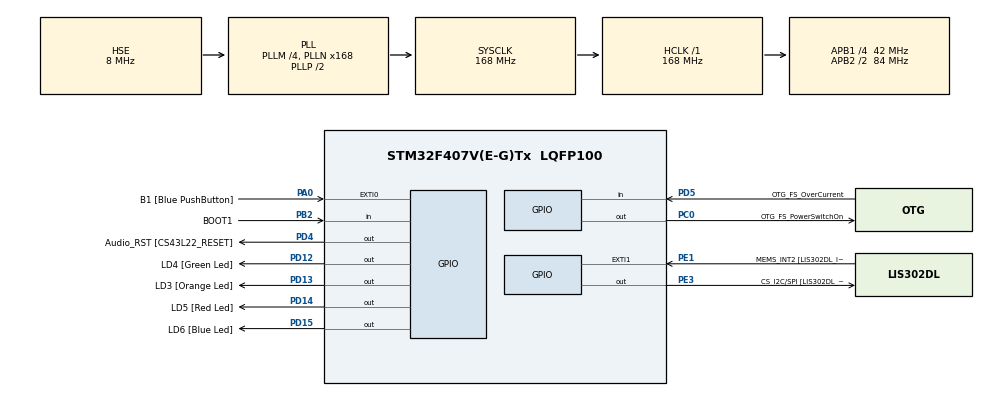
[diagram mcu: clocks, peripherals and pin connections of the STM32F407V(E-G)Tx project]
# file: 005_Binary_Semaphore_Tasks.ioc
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Mcu.Family=STM32F4
Mcu.Name=STM32F407V(E-G)Tx
Mcu.Package=LQFP100
NVIC.PriorityGroup=NVIC_PRIORITYGROUP_4
NVIC.TIM6_DAC_IRQn=true\:0\:0\:false\:false\:true\:false\:true\:true
NVIC.TimeBase=TIM6_DAC_IRQn
NVIC.TimeBaseIP=TIM6
PA0-WKUP.GPIO_Label=B1 [Blue PushButton]
PA0-WKUP.Signal=GPXTI0
PA10.GPIO_Label=OTG_FS_ID
PA10.GPIO_Mode=GPIO_MODE_AF_PP
PA10.GPIO_PuPd=GPIO_NOPULL
PA10.GPIO_Speed=GPIO_SPEED_FREQ_LOW
PA10.Signal=USB_OTG_FS_ID
PA11.GPIO_Label=OTG_FS_DM
PA11.GPIO_Mode=GPIO_MODE_AF_PP
PA11.GPIO_PuPd=GPIO_NOPULL
PA11.GPIO_Speed=GPIO_SPEED_FREQ_LOW
PA11.Signal=USB_OTG_FS_DM
PA12.GPIO_Label=OTG_FS_DP
PA12.GPIO_Mode=GPIO_MODE_AF_PP
PA12.GPIO_PuPd=GPIO_NOPULL
PA12.GPIO_Speed=GPIO_SPEED_FREQ_LOW
PA12.Signal=USB_OTG_FS_DP
PA13.GPIO_Label=SWDIO
PA13.Mode=Serial_Wire
PA13.Signal=SYS_JTMS-SWDIO
PA14.GPIO_Label=SWCLK
PA14.Mode=Serial_Wire
PA14.Signal=SYS_JTCK-SWCLK
PA4.GPIO_Label=I2S3_WS [CS43L22_LRCK]
PA4.GPIO_Mode=GPIO_MODE_AF_PP
PA4.GPIO_PuPd=GPIO_NOPULL
PA4.GPIO_Speed=GPIO_SPEED_FREQ_LOW
PA4.Signal=I2S3_WS
PA5.GPIO_Label=SPI1_SCK [LIS302DL_SCL/SPC]
PA5.GPIO_Mode=GPIO_MODE_AF_PP
PA5.GPIO_PuPd=GPIO_NOPULL
PA5.GPIO_Speed=GPIO_SPEED_FREQ_LOW
PA5.Signal=SPI1_SCK
PA6.GPIO_Label=SPI1_MISO [LIS302DL_SDO]
PA6.GPIO_Mode=GPIO_MODE_AF_PP
PA6.GPIO_PuPd=GPIO_NOPULL
PA6.GPIO_Speed=GPIO_SPEED_FREQ_LOW
PA6.Signal=SPI1_MISO
PA7.GPIO_Label=SPI1_MOSI [LIS302DL_SDA/SDI/SDO]
PA7.GPIO_Mode=GPIO_MODE_AF_PP
PA7.GPIO_PuPd=GPIO_NOPULL
PA7.GPIO_Speed=GPIO_SPEED_FREQ_LOW
PA7.Signal=SPI1_MOSI
PA9.GPIO_Label=VBUS_FS
PA9.GPIO_Mode=GPIO_MODE_INPUT
PA9.GPIO_PuPd=GPIO_NOPULL
PA9.Signal=USB_OTG_FS_VBUS
PB10.GPIO_Label=CLK_IN [MP45DT02_CLK]
PB10.GPIO_Mode=GPIO_MODE_AF_PP
PB10.GPIO_PuPd=GPIO_NOPULL
PB10.GPIO_Speed=GPIO_SPEED_FREQ_LOW
PB10.Signal=I2S2_CK
PB2.GPIO_Label=BOOT1
PB2.GPIO_Mode=GPIO_MODE_INPUT
PB2.GPIO_PuPd=GPIO_NOPULL
PB2.Signal=GPIO_Input
PB3.GPIO_Label=SWO
PB3.Signal=SYS_JTDO-SWO
PB6.GPIO_Label=Audio_SCL [CS43L22_SCL]
PB6.GPIO_Mode=GPIO_MODE_AF_OD
PB6.GPIO_PuPd=GPIO_NOPULL
PB6.GPIO_Speed=GPIO_SPEED_FREQ_LOW
PB6.Signal=I2C1_SCL
PB9.GPIO_Label=Audio_SDA [CS43L22_SDA]
PB9.GPIO_Mode=GPIO_MODE_AF_OD
PB9.GPIO_PuPd=GPIO_NOPULL
PB9.GPIO_Speed=GPIO_SPEED_FREQ_LOW
PB9.Signal=I2C1_SDA
PC0.GPIO_Label=OTG_FS_PowerSwitchOn
PC0.GPIO_PuPd=GPIO_NOPULL
PC0.GPIO_Speed=GPIO_SPEED_FREQ_LOW
PC0.PinState=GPIO_PIN_SET
PC0.Signal=GPIO_Output
PC10.GPIO_Label=I2S3_SCK [CS43L22_SCLK]
PC10.GPIO_Mode=GPIO_MODE_AF_PP
PC10.GPIO_PuPd=GPIO_NOPULL
PC10.GPIO_Speed=GPIO_SPEED_FREQ_LOW
PC10.Signal=I2S3_CK
PC12.GPIO_Label=I2S3_SD [CS43L22_SDIN]
PC12.GPIO_Mode=GPIO_MODE_AF_PP
PC12.GPIO_PuPd=GPIO_NOPULL
PC12.GPIO_Speed=GPIO_SPEED_FREQ_LOW
PC12.Signal=I2S3_SD
PC14-OSC32_IN.GPIO_Label=PC14-OSC32_IN
PC14-OSC32_IN.Signal=RCC_OSC32_IN
PC15-OSC32_OUT.GPIO_Label=PC15-OSC32_OUT
PC15-OSC32_OUT.Signal=RCC_OSC32_OUT
PC3.GPIO_Label=PDM_OUT [MP45DT02_DOUT]
PC3.GPIO_Mode=GPIO_MODE_AF_PP
PC3.GPIO_PuPd=GPIO_NOPULL
PC3.GPIO_Speed=GPIO_SPEED_FREQ_LOW
PC3.Signal=I2S2_SD
PC7.GPIO_Label=I2S3_MCK [CS43L22_MCLK]
PC7.GPIO_Mode=GPIO_MODE_AF_PP
PC7.GPIO_PuPd=GPIO_NOPULL
PC7.GPIO_Speed=GPIO_SPEED_FREQ_LOW
PC7.Signal=I2S3_MCK
PD12.GPIO_Label=LD4 [Green Led]
PD12.GPIO_PuPd=GPIO_NOPULL
PD12.GPIO_Speed=GPIO_SPEED_FREQ_LOW
PD12.Signal=GPIO_Output
PD13.GPIO_Label=LD3 [Orange Led]
PD13.GPIO_PuPd=GPIO_NOPULL
PD13.GPIO_Speed=GPIO_SPEED_FREQ_LOW
PD13.Signal=GPIO_Output
PD14.GPIO_Label=LD5 [Red Led]
PD14.GPIO_PuPd=GPIO_NOPULL
PD14.GPIO_Speed=GPIO_SPEED_FREQ_LOW
PD14.Signal=GPIO_Output
PD15.GPIO_Label=LD6 [Blue Led]
PD15.GPIO_PuPd=GPIO_NOPULL
PD15.GPIO_Speed=GPIO_SPEED_FREQ_LOW
PD15.Signal=GPIO_Output
PD4.GPIO_Label=Audio_RST [CS43L22_RESET]
PD4.GPIO_PuPd=GPIO_NOPULL
PD4.GPIO_Speed=GPIO_SPEED_FREQ_LOW
PD4.Signal=GPIO_Output
PD5.GPIO_Label=OTG_FS_OverCurrent
PD5.GPIO_Mode=GPIO_MODE_INPUT
PD5.GPIO_PuPd=GPIO_NOPULL
PD5.Signal=GPIO_Input
PE1.GPIO_Label=MEMS_INT2 [LIS302DL_INT2]
PE1.GPIO_ModeDefaultEXTI=GPIO_MODE_EVT_RISING
PE1.GPIO_PuPd=GPIO_NOPULL
PE1.Signal=GPXTI1
PE3.GPIO_Label=CS_I2C/SPI [LIS302DL_CS_I2C/SPI]
PE3.GPIO_PuPd=GPIO_NOPULL
PE3.GPIO_Speed=GPIO_SPEED_FREQ_LOW
PE3.Signal=GPIO_Output
PH0-OSC_IN.GPIO_Label=PH0-OSC_IN
PH0-OSC_IN.Mode=HSE-External-Oscillator
PH0-OSC_IN.Signal=RCC_OSC_IN
PH1-OSC_OUT.GPIO_Label=PH1-OSC_OUT
PH1-OSC_OUT.Mode=HSE-External-Oscillator
PH1-OSC_OUT.Signal=RCC_OSC_OUT
ProjectManager.HeapSize=0x200
ProjectManager.StackSize=0x400
ProjectManager.TargetToolchain=CMake
RCC.48MHZClocksFreq_Value=48000000
RCC.AHBFreq_Value=168000000
RCC.APB1CLKDivider=RCC_HCLK_DIV4
RCC.APB1Freq_Value=42000000
RCC.APB1TimFreq_Value=84000000
RCC.APB2CLKDivider=RCC_HCLK_DIV2
RCC.APB2Freq_Value=84000000
RCC.APB2TimFreq_Value=168000000
RCC.CortexFreq_Value=168000000
RCC.HCLKFreq_Value=168000000
RCC.HSE_VALUE=8000000
RCC.HSI_VALUE=16000000
RCC.LSE_VALUE=32768
RCC.PLLM=4
RCC.PLLN=168
RCC.PLLQ=7
RCC.PLLSourceVirtual=RCC_PLLSOURCE_HSE
RCC.SYSCLKFreq_VALUE=168000000
RCC.SYSCLKSource=RCC_SYSCLKSOURCE_PLLCLK
RCC.VCOOutputFreq_Value=336000000
VP_SYS_VS_tim6.Mode=TIM6
board=STM32F407G-DISC1

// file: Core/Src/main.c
/* USER CODE BEGIN Header */
/**
  ******************************************************************************
  * @file           : main.c
  * @brief          : Main program body
  ******************************************************************************
  * @attention
  *
  * Copyright (c) 2026 STMicroelectronics.
  * All rights reserved.
  *
  * This software is licensed under terms that can be found in the LICENSE file
  * in the root directory of this software component.
  * If no LICENSE file comes with this software, it is provided AS-IS.
  *
  ******************************************************************************
  */
/* USER CODE END Header */
#include "main.h"

/* USER CODE BEGIN Includes */
#include "FreeRTOS.h"
#include "task.h"
#include "queue.h"
#include "semphr.h"
#include <stdlib.h>
/* USER CODE END Includes */

/* USER CODE BEGIN PV */
TaskHandle_t manager_handle;
TaskHandle_t employee_handle;
QueueHandle_t ticket_queue;
SemaphoreHandle_t ticket_semaphore;
/* USER CODE END PV */

void SystemClock_Config(void);
static void MX_GPIO_Init(void);
/* USER CODE BEGIN PFP */
extern void SEGGER_UART_init(U32);
static void manager_handler(void* params);
static void employee_handler(void* params);
/* USER CODE END PFP */

int main(void)
{

  /* MCU Configuration--------------------------------------------------------*/

  /* Reset of all peripherals, Initializes the Flash interface and the Systick. */
  HAL_Init();

  /* Configure the system clock */
  SystemClock_Config();

  /* Initialize all configured peripherals */
  MX_GPIO_Init();
  /* USER CODE BEGIN 2 */
  // Enabling UART with SEGGER
  SEGGER_UART_init(250000);
  DWT->CTRL |= ( 1 << 0);
  SEGGER_SYSVIEW_Conf();

  //Task creation
  BaseType_t status;

  status = xTaskCreate(manager_handler, "Manager", 120, NULL, 3, &manager_handle);
  configASSERT(status == pdPASS);

  status = xTaskCreate(employee_handler, "Employee", 120, NULL, 2, &employee_handle);
  configASSERT(status == pdPASS);

  // Queue creation
  ticket_queue = xQueueCreate(5, sizeof(uint32_t));
  configASSERT(ticket_queue != NULL);

  ticket_semaphore = xSemaphoreCreateBinary();
  configASSERT(ticket_semaphore != NULL);

  // Initialize Scheduler
  vTaskStartScheduler();

  /* USER CODE END 2 */

  /* Infinite loop */
  while (1)
  {

  }
}

void SystemClock_Config(void)
{
  RCC_OscInitTypeDef RCC_OscInitStruct = {0};
  RCC_ClkInitTypeDef RCC_ClkInitStruct = {0};

  /** Configure the main internal regulator output voltage
  */
  __HAL_RCC_PWR_CLK_ENABLE();
  __HAL_PWR_VOLTAGESCALING_CONFIG(PWR_REGULATOR_VOLTAGE_SCALE1);

  /** Initializes the RCC Oscillators according to the specified parameters
  * in the RCC_OscInitTypeDef structure.
  */
  RCC_OscInitStruct.OscillatorType = RCC_OSCILLATORTYPE_HSE;
  RCC_OscInitStruct.HSEState = RCC_HSE_ON;
  RCC_OscInitStruct.PLL.PLLState = RCC_PLL_ON;
  RCC_OscInitStruct.PLL.PLLSource = RCC_PLLSOURCE_HSE;
  RCC_OscInitStruct.PLL.PLLM = 4;
  RCC_OscInitStruct.PLL.PLLN = 168;
  RCC_OscInitStruct.PLL.PLLP = RCC_PLLP_DIV2;
  RCC_OscInitStruct.PLL.PLLQ = 7;
  if (HAL_RCC_OscConfig(&RCC_OscInitStruct) != HAL_OK)
  {
    Error_Handler();
  }

  /** Initializes the CPU, AHB and APB buses clocks
  */
  RCC_ClkInitStruct.ClockType = RCC_CLOCKTYPE_HCLK|RCC_CLOCKTYPE_SYSCLK
                              |RCC_CLOCKTYPE_PCLK1|RCC_CLOCKTYPE_PCLK2;
  RCC_ClkInitStruct.SYSCLKSource = RCC_SYSCLKSOURCE_PLLCLK;
  RCC_ClkInitStruct.AHBCLKDivider = RCC_SYSCLK_DIV1;
  RCC_ClkInitStruct.APB1CLKDivider = RCC_HCLK_DIV4;
  RCC_ClkInitStruct.APB2CLKDivider = RCC_HCLK_DIV2;

  if (HAL_RCC_ClockConfig(&RCC_ClkInitStruct, FLASH_LATENCY_5) != HAL_OK)
  {
    Error_Handler();
  }
}

static void MX_GPIO_Init(void)
{
  GPIO_InitTypeDef GPIO_InitStruct = {0};

  /* GPIO Ports Clock Enable */
  __HAL_RCC_GPIOE_CLK_ENABLE();
  __HAL_RCC_GPIOC_CLK_ENABLE();
  __HAL_RCC_GPIOH_CLK_ENABLE();
  __HAL_RCC_GPIOA_CLK_ENABLE();
  __HAL_RCC_GPIOB_CLK_ENABLE();
  __HAL_RCC_GPIOD_CLK_ENABLE();

  /*Configure GPIO pin Output Level */
  HAL_GPIO_WritePin(CS_I2C_SPI_GPIO_Port, CS_I2C_SPI_Pin, GPIO_PIN_RESET);

  /*Configure GPIO pin Output Level */
  HAL_GPIO_WritePin(OTG_FS_PowerSwitchOn_GPIO_Port, OTG_FS_PowerSwitchOn_Pin, GPIO_PIN_SET);

  /*Configure GPIO pin Output Level */
  HAL_GPIO_WritePin(GPIOD, LD4_Pin|LD3_Pin|LD5_Pin|LD6_Pin
                          |Audio_RST_Pin, GPIO_PIN_RESET);

  /*Configure GPIO pin : CS_I2C_SPI_Pin */
  GPIO_InitStruct.Pin = CS_I2C_SPI_Pin;
  GPIO_InitStruct.Mode = GPIO_MODE_OUTPUT_PP;
  GPIO_InitStruct.Pull = GPIO_NOPULL;
  GPIO_InitStruct.Speed = GPIO_SPEED_FREQ_LOW;
  HAL_GPIO_Init(CS_I2C_SPI_GPIO_Port, &GPIO_InitStruct);

  /*Configure GPIO pin : OTG_FS_PowerSwitchOn_Pin */
  GPIO_InitStruct.Pin = OTG_FS_PowerSwitchOn_Pin;
  GPIO_InitStruct.Mode = GPIO_MODE_OUTPUT_PP;
  GPIO_InitStruct.Pull = GPIO_NOPULL;
  GPIO_InitStruct.Speed = GPIO_SPEED_FREQ_LOW;
  HAL_GPIO_Init(OTG_FS_PowerSwitchOn_GPIO_Port, &GPIO_InitStruct);

  /*Configure GPIO pin : PDM_OUT_Pin */
  GPIO_InitStruct.Pin = PDM_OUT_Pin;
  GPIO_InitStruct.Mode = GPIO_MODE_AF_PP;
  GPIO_InitStruct.Pull = GPIO_NOPULL;
  GPIO_InitStruct.Speed = GPIO_SPEED_FREQ_LOW;
  GPIO_InitStruct.Alternate = GPIO_AF5_SPI2;
  HAL_GPIO_Init(PDM_OUT_GPIO_Port, &GPIO_InitStruct);

  /*Configure GPIO pin : B1_Pin */
  GPIO_InitStruct.Pin = B1_Pin;
  GPIO_InitStruct.Mode = GPIO_MODE_IT_RISING;
  GPIO_InitStruct.Pull = GPIO_NOPULL;
  HAL_GPIO_Init(B1_GPIO_Port, &GPIO_InitStruct);

  /*Configure GPIO pin : I2S3_WS_Pin */
  GPIO_InitStruct.Pin = I2S3_WS_Pin;
  GPIO_InitStruct.Mode = GPIO_MODE_AF_PP;
  GPIO_InitStruct.Pull = GPIO_NOPULL;
  GPIO_InitStruct.Speed = GPIO_SPEED_FREQ_LOW;
  GPIO_InitStruct.Alternate = GPIO_AF6_SPI3;
  HAL_GPIO_Init(I2S3_WS_GPIO_Port, &GPIO_InitStruct);

  /*Configure GPIO pins : SPI1_SCK_Pin SPI1_MISO_Pin SPI1_MOSI_Pin */
  GPIO_InitStruct.Pin = SPI1_SCK_Pin|SPI1_MISO_Pin|SPI1_MOSI_Pin;
  GPIO_InitStruct.Mode = GPIO_MODE_AF_PP;
  GPIO_InitStruct.Pull = GPIO_NOPULL;
  GPIO_InitStruct.Speed = GPIO_SPEED_FREQ_LOW;
  GPIO_InitStruct.Alternate = GPIO_AF5_SPI1;
  HAL_GPIO_Init(GPIOA, &GPIO_InitStruct);

  /*Configure GPIO pin : BOOT1_Pin */
  GPIO_InitStruct.Pin = BOOT1_Pin;
  GPIO_InitStruct.Mode = GPIO_MODE_INPUT;
  GPIO_InitStruct.Pull = GPIO_NOPULL;
  HAL_GPIO_Init(BOOT1_GPIO_Port, &GPIO_InitStruct);

  /*Configure GPIO pin : CLK_IN_Pin */
  GPIO_InitStruct.Pin = CLK_IN_Pin;
  GPIO_InitStruct.Mode = GPIO_MODE_AF_PP;
  GPIO_InitStruct.Pull = GPIO_NOPULL;
  GPIO_InitStruct.Speed = GPIO_SPEED_FREQ_LOW;
  GPIO_InitStruct.Alternate = GPIO_AF5_SPI2;
  HAL_GPIO_Init(CLK_IN_GPIO_Port, &GPIO_InitStruct);

  /*Configure GPIO pins : LD4_Pin LD3_Pin LD5_Pin LD6_Pin
                           Audio_RST_Pin */
  GPIO_InitStruct.Pin = LD4_Pin|LD3_Pin|LD5_Pin|LD6_Pin
                          |Audio_RST_Pin;
  GPIO_InitStruct.Mode = GPIO_MODE_OUTPUT_PP;
  GPIO_InitStruct.Pull = GPIO_NOPULL;
  GPIO_InitStruct.Speed = GPIO_SPEED_FREQ_LOW;
  HAL_GPIO_Init(GPIOD, &GPIO_InitStruct);

  /*Configure GPIO pins : I2S3_MCK_Pin I2S3_SCK_Pin I2S3_SD_Pin */
  GPIO_InitStruct.Pin = I2S3_MCK_Pin|I2S3_SCK_Pin|I2S3_SD_Pin;
  GPIO_InitStruct.Mode = GPIO_MODE_AF_PP;
  GPIO_InitStruct.Pull = GPIO_NOPULL;
  GPIO_InitStruct.Speed = GPIO_SPEED_FREQ_LOW;
  GPIO_InitStruct.Alternate = GPIO_AF6_SPI3;
  HAL_GPIO_Init(GPIOC, &GPIO_InitStruct);

  /*Configure GPIO pin : VBUS_FS_Pin */
  GPIO_InitStruct.Pin = VBUS_FS_Pin;
  GPIO_InitStruct.Mode = GPIO_MODE_INPUT;
  GPIO_InitStruct.Pull = GPIO_NOPULL;
  HAL_GPIO_Init(VBUS_FS_GPIO_Port, &GPIO_InitStruct);

  /*Configure GPIO pins : OTG_FS_ID_Pin OTG_FS_DM_Pin OTG_FS_DP_Pin */
  GPIO_InitStruct.Pin = OTG_FS_ID_Pin|OTG_FS_DM_Pin|OTG_FS_DP_Pin;
  GPIO_InitStruct.Mode = GPIO_MODE_AF_PP;
  GPIO_InitStruct.Pull = GPIO_NOPULL;
  GPIO_InitStruct.Speed = GPIO_SPEED_FREQ_LOW;
  GPIO_InitStruct.Alternate = GPIO_AF10_OTG_FS;
  HAL_GPIO_Init(GPIOA, &GPIO_InitStruct);

  /*Configure GPIO pin : OTG_FS_OverCurrent_Pin */
  GPIO_InitStruct.Pin = OTG_FS_OverCurrent_Pin;
  GPIO_InitStruct.Mode = GPIO_MODE_INPUT;
  GPIO_InitStruct.Pull = GPIO_NOPULL;
  HAL_GPIO_Init(OTG_FS_OverCurrent_GPIO_Port, &GPIO_InitStruct);

  /*Configure GPIO pins : Audio_SCL_Pin Audio_SDA_Pin */
  GPIO_InitStruct.Pin = Audio_SCL_Pin|Audio_SDA_Pin;
  GPIO_InitStruct.Mode = GPIO_MODE_AF_OD;
  GPIO_InitStruct.Pull = GPIO_NOPULL;
  GPIO_InitStruct.Speed = GPIO_SPEED_FREQ_LOW;
  GPIO_InitStruct.Alternate = GPIO_AF4_I2C1;
  HAL_GPIO_Init(GPIOB, &GPIO_InitStruct);

  /*Configure GPIO pin : MEMS_INT2_Pin */
  GPIO_InitStruct.Pin = MEMS_INT2_Pin;
  GPIO_InitStruct.Mode = GPIO_MODE_EVT_RISING;
  GPIO_InitStruct.Pull = GPIO_NOPULL;
  HAL_GPIO_Init(MEMS_INT2_GPIO_Port, &GPIO_InitStruct);

}

/* USER CODE BEGIN 4 */
static void manager_handler(void* params)
{
  uint32_t ticket;

  /* Since the semaphore was created in the empty state, the semaphore must first
     give before it can take */
  xSemaphoreGive(ticket_semaphore);

  while (1)
  {
    ticket = rand();
    BaseType_t status = xQueueSendToBack(ticket_queue, &ticket, portMAX_DELAY);

    if (status != pdPASS)
    {
      SEGGER_SYSVIEW_PrintfTarget("Could not send to the queue\n");
    } else
    {
      // Notify employee tasks
      xSemaphoreGive(ticket_semaphore);
      taskYIELD();
    }
  }
}

static void employee_handler(void* params)
{
  uint32_t ticket;

  while (1)
  {
    // First try to take semaphore
    xSemaphoreTake(ticket_semaphore, portMAX_DELAY);

    BaseType_t status = xQueueReceive(ticket_queue, &ticket, 0);
    if (status != pdPASS)
    {
      SEGGER_SYSVIEW_PrintfTarget("Queue is empty nothign to do\n");
    } else
    {
      SEGGER_SYSVIEW_PrintfTarget("Working on ticket: %lu\n", ticket);
    }

    // Process ticket
  }
}
/* USER CODE END 4 */

void HAL_TIM_PeriodElapsedCallback(TIM_HandleTypeDef *htim)
{
  if (htim->Instance == TIM6)
  {
    HAL_IncTick();
  }
}

void Error_Handler(void)
{
  __disable_irq();
  while (1)
  {
  }
}
